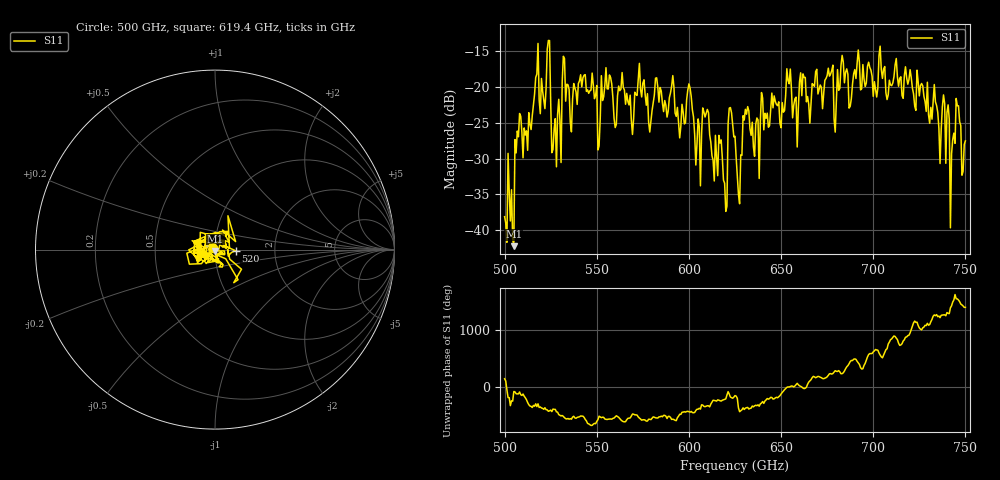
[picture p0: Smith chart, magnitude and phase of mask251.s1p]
!Created with skrf (http://scikit-rf.org).
# GHz S MA R 50.0
!freq magS11 angS11
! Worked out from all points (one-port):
!   401 points, 500 GHz to 750 GHz, reference 50 ohm
!   lowest |S11| = -42.3 dB at 505 GHz (marker M1), VSWR 1.02, Z = 50.2 - j0.751 ohm
!   |S11| at or under -10 dB: start of sweep to end of sweep
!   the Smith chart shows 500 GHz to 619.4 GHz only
!   S11 on the Smith chart (normalised r, x): 500 GHz: 0.98, +0.01; 520 GHz: 1.26, -0.02; 619.4 GHz: 0.97, +0.02
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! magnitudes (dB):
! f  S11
! 500 GHz  -38.1
! 505 GHz  -42.3
! 508.1 GHz  -23.7
! 520 GHz  -18.8
! 523.8 GHz  -13.5
! 526.9 GHz  -25.9
! 531.2 GHz  -19.2
! 542.5 GHz  -18.7
! 550.6 GHz  -28.8
! 562.5 GHz  -20.5
! 579.4 GHz  -24.8
! 590.6 GHz  -19.9
! 593.8 GHz  -22.8
! 600 GHz  -19.5
! 605 GHz  -24.5
! 609.4 GHz  -23.7
! 619.4 GHz  -33.4
! 622.5 GHz  -22.9
! 625 GHz  -26.9
! 627.5 GHz  -36.3
! 630.6 GHz  -23.1
! 636.9 GHz  -24.3
! 656.2 GHz  -24.3
! 687.5 GHz  -22.7
! 718.8 GHz  -19.6
! 743.1 GHz  -27.3
! 746.2 GHz  -22.6
! 750 GHz  -27.5
